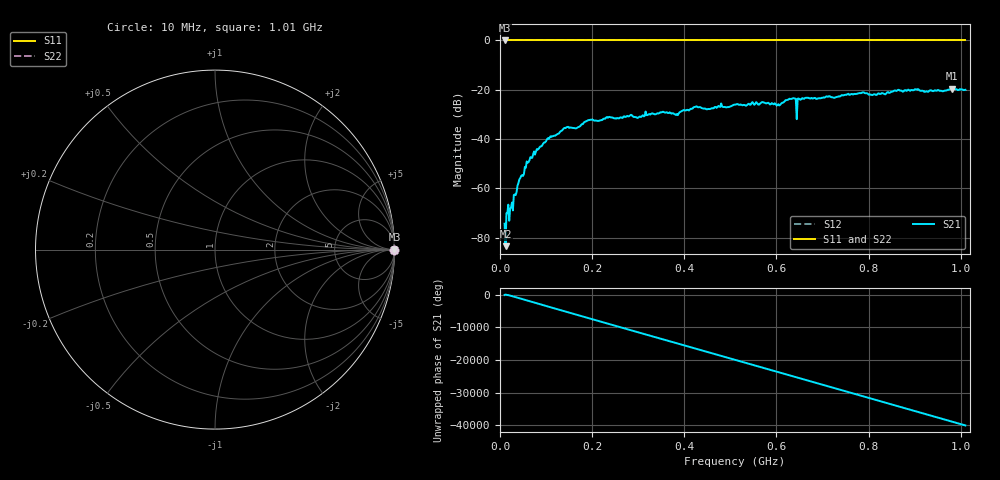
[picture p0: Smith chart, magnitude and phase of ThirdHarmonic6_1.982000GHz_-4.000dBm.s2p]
! 8/16/2025 11:49:45 PM
! C:\ANRITSUVNA\TEMP\TEMP.S2P
! CHANNEL.1
! TR.MEASUREMENT
! RAW.DATA
! RF.CORRECTION.OFF
! AVERAGING.OFF
! IF.BANDWIDTH: 5KHZ
! SWEEPTYPE:  FREQ.SWEEP(Linear)
! Reference Plane Port Info
! PORT:  PORT1  PORT2
! DISTANCE:  0  m  0  m
! TIME:  0  s  0  s
! PHASE.OFFSET:  0  deg.  0  deg.
! LOSS:  0  dB  0  dB
! REF.LOSS:  0  dB  0  dB
! REF.FREQ:  0  Hz  0  Hz
! Power Info
! POWER:  -20  dBm  -20  dBm
! EFF.POWER:  -20  dBm  -20  dBm
! SOURCE.ATTEN:  0  dB  0  dB
! TEST.ATTEN:  0  dB  0  dB
# GHZ S RI R 50.0
! FREQ.GHZ  S11RE  S11IM  S21RE  S21IM  S12RE  S12IM  S22RE  S22IM
!; PortSelection: Port_12
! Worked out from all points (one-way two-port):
!   501 points, 10 MHz to 1.01 GHz, reference 50 ohm
!   highest |S21| = -19.61 dB at 980 MHz (marker M1); lowest = -83.4 dB at 12 MHz (marker M2)
!   lowest |S11| = 0.0 dB at 10 MHz (marker M3)
!   |S11| at or under -10 dB: nowhere
!   |S22| runs from 0.0 to 0.0 dB; largest |S21 - S12| = 1.1
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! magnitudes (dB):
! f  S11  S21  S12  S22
! 10 MHz  0.0  -74.3  0.0  0.0
! 12 MHz  0.0  -83.4  0.0  0.0
! 18 MHz  0.0  -66.6  0.0  0.0
! 24 MHz  0.0  -67.7  0.0  0.0
! 42 MHz  0.0  -56.3  0.0  0.0
! 70 MHz  0.0  -47.6  0.0  0.0
! 106 MHz  0.0  -39.9  0.0  0.0
! 142 MHz  0.0  -35.6  0.0  0.0
! 178 MHz  0.0  -33.9  0.0  0.0
! 196 MHz  0.0  -32.1  0.0  0.0
! 344 MHz  0.0  -29.6  0.0  0.0
! 382 MHz  0.0  -30.2  0.0  0.0
! 424 MHz  0.0  -26.9  0.0  0.0
! 510 MHz  0.0  -26.0  0.0  0.0
! 604 MHz  0.0  -25.8  0.0  0.0
! 632 MHz  0.0  -23.7  0.0  0.0
! 648 MHz  0.0  -23.5  0.0  0.0
! 650 MHz  0.0  -23.8  0.0  0.0
! 678 MHz  0.0  -23.5  0.0  0.0
! 844 MHz  0.0  -21.2  0.0  0.0
! 980 MHz  0.0  -19.6  0.0  0.0
! 1.01 GHz  0.0  -20.0  0.0  0.0
